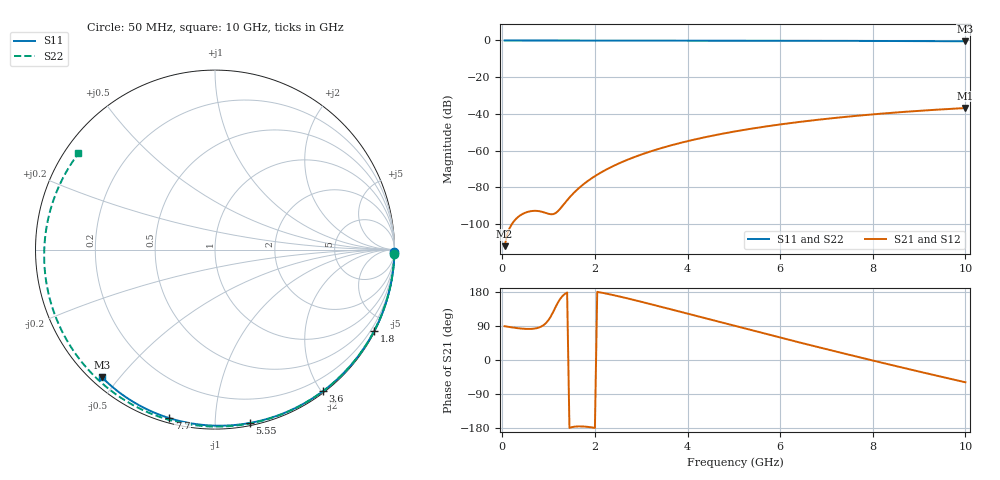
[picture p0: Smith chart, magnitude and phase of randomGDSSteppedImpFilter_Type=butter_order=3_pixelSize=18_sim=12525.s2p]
! freq	dB(S11)	phase(S11)	dB(S12)	phase(S12)
!  dB(S21)	phase(S21)	dB(S22)	phase(S22)
!S-par simulation data
#  GHz  S  DB  R 50
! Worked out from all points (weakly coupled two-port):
!   200 points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, 50 MHz to 10 GHz, reference 50 ohm
!   highest |S21| = -36.85 dB at 10 GHz (marker M1); lowest = -112.1 dB at 50 MHz (marker M2)
!   lowest |S11| = -0.4 dB at 10 GHz (marker M3), VSWR 39.07, Z = 1.54 - j22.5 ohm
!   |S11| at or under -10 dB: nowhere
!   |S22| runs from -0.6 to 0.0 dB; largest |S21 - S12| = 0
!   S11 on the Smith chart (normalised r, x): 50 MHz: open; 1.8 GHz: 0.04, -4.17; 3.6 GHz: 0.02, -2.02; 5.55 GHz: 0.02, -1.22; 7.7 GHz: 0.02, -0.77; 10 GHz: 0.03, -0.45
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0.05  -0.00 -0.8  -112.13 89.1  -112.13 89.1  -0.00 -1.3
0.4  -0.01 -6.1  -95.13 83.0  -95.13 83.0  -0.01 -9.9
0.8  -0.02 -12.1  -93.07 86.1  -93.07 86.1  -0.03 -19.8
1.2  -0.02 -18.1  -93.08 151.4  -93.08 151.4  -0.04 -29.6
1.65  -0.03 -24.7  -80.56 -175.2  -80.56 -175.2  -0.05 -40.4
1.75  -0.03 -26.2  -78.44 -175.5  -78.44 -175.5  -0.05 -42.8
1.8  -0.03 -27.0  -77.46 -175.9  -77.46 -175.9  -0.06 -43.9
2.1  -0.04 -31.3  -72.42 178.8  -72.42 178.8  -0.06 -51.0
2.5  -0.05 -37.1  -67.23 168.4  -67.23 168.4  -0.08 -60.2
2.9  -0.06 -42.9  -63.10 156.7  -63.10 156.7  -0.09 -69.2
3.4  -0.07 -49.9  -58.93 141.3  -58.93 141.3  -0.11 -80.2
3.6  -0.07 -52.7  -57.48 135.0  -57.48 135.0  -0.11 -84.5
4.3  -0.09 -62.3  -53.16 112.8  -53.16 112.8  -0.14 -99.3
5.05  -0.11 -72.3  -49.47 89.0  -49.47 89.0  -0.17 -114.5
5.55  -0.13 -78.7  -47.41 73.3  -47.41 73.3  -0.20 -124.5
6.15  -0.15 -86.3  -45.27 54.6  -45.27 54.6  -0.24 -136.2
6.7  -0.18 -93.1  -43.56 37.7  -43.56 37.7  -0.28 -146.9
7.2  -0.21 -99.2  -42.18 22.5  -42.18 22.5  -0.32 -156.7
7.7  -0.24 -105.1  -40.96 7.5  -40.96 7.5  -0.37 -166.5
8.35  -0.29 -112.7  -39.56 -11.7  -39.56 -11.7  -0.43 -179.6
9.2  -0.36 -122.5  -38.03 -36.2  -38.03 -36.2  -0.53 162.6
10  -0.44 -131.5  -36.85 -58.8  -36.85 -58.8  -0.63 144.8
